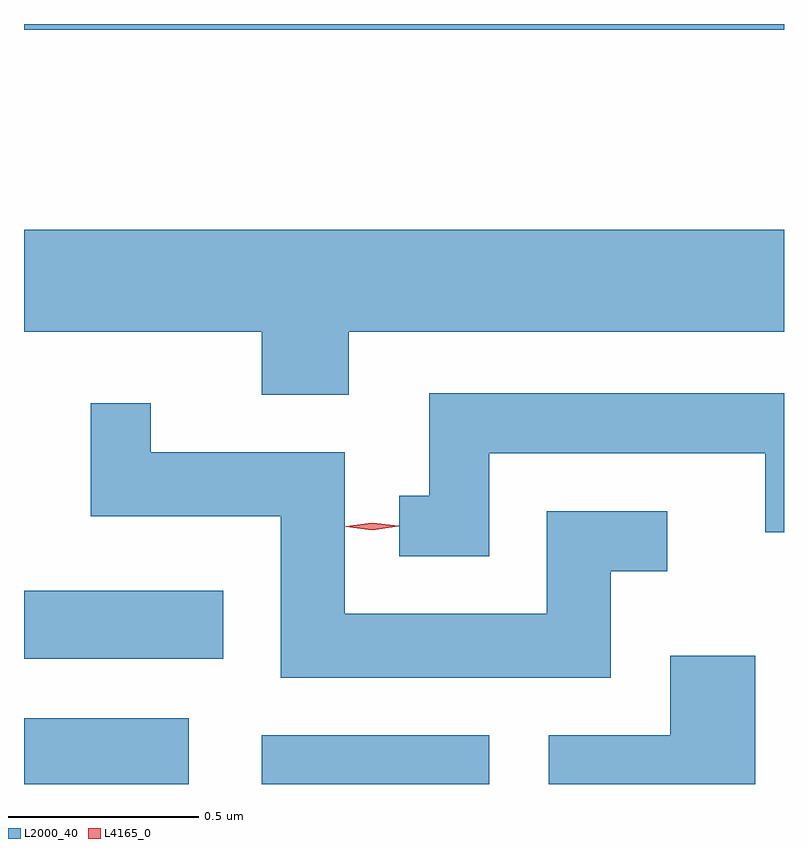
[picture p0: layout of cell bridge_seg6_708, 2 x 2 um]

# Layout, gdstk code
import gdstk
lib = gdstk.Library(unit=1e-6, precision=1e-09)
def R(c, l, rs):  # rectangles x0, y0, x1, y1
    for r in rs: c.add(gdstk.rectangle(r[:2], r[2:], *l))
def P(c, l, *ps):  # polygons
    for p in ps: c.add(gdstk.Polygon(p, *l))
L2000_40 = (2000, 40)
L4165_0 = (4165, 0)

bridge_seg6_708 = lib.new_cell('bridge_seg6_708')
R(bridge_seg6_708, L2000_40, [(304.535,1544.406,304.969,1544.579), (305.161,1544.406,305.759,1544.534), (304.535,1544.736,305.059,1544.914), (304.535,1546.391,306.535,1546.406)])
P(bridge_seg6_708, L2000_40, [(305.389,1545.596),(306.535,1545.596),(306.535,1545.864),(304.535,1545.864),(304.535,1545.596),(305.161,1545.596),(305.161,1545.431),(305.389,1545.431)],
  [(305.759,1545.276),(306.486,1545.276),(306.486,1545.068),(306.535,1545.068),(306.535,1545.434),(305.601,1545.434),(305.601,1545.164),(305.523,1545.164),(305.523,1545.006),(305.759,1545.006)],
  [(306.079,1544.966),(306.228,1544.966),(306.228,1545.124),(305.911,1545.124),(305.911,1544.854),(305.379,1544.854),(305.379,1545.279),(304.869,1545.279),(304.869,1545.408),(304.711,1545.408),(304.711,1545.111),(305.211,1545.111),(305.211,1544.686),(306.079,1544.686)],
  [(306.459,1544.744),(306.236,1544.744),(306.236,1544.534),(305.916,1544.534),(305.916,1544.406),(306.459,1544.406)])
P(bridge_seg6_708, L4165_0, [(305.452,1545.074),(305.382,1545.083),(305.382,1545.083),(305.382,1545.084),(305.452,1545.094),(305.521,1545.085),(305.521,1545.084),(305.521,1545.084)])

lib.write_gds('bridge_seg6_708.gds')
